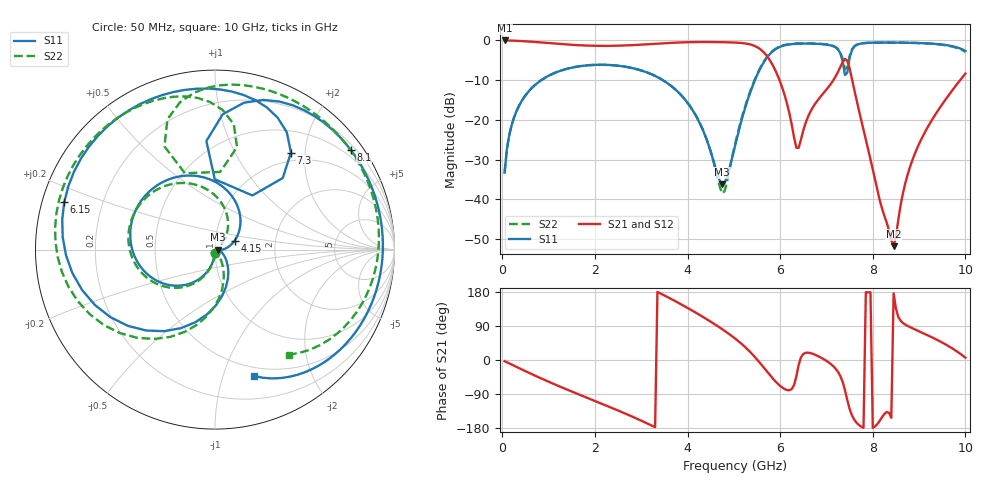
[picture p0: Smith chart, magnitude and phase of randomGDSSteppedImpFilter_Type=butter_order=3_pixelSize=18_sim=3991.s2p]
! freq	dB(S11)	phase(S11)	dB(S12)	phase(S12)
!  dB(S21)	phase(S21)	dB(S22)	phase(S22)
!S-par simulation data
#  GHz  S  DB  R 50
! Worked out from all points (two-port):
!   200 points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, 50 MHz to 10 GHz, reference 50 ohm
!   highest |S21| = -0.01 dB at 50 MHz (marker M1); lowest = -51.8 dB at 8.45 GHz (marker M2)
!   |S21| within 3 dB of the highest: start of sweep to 5.646 GHz
!   lowest |S11| = -36.2 dB at 4.75 GHz (marker M3), VSWR 1.03, Z = 51.6 + j0.0109 ohm
!   |S11| at or under -10 dB: start of sweep to 843 MHz; 3.465 GHz to 5.456 GHz (1.991 GHz wide, 44.6 % of centre)
!   |S22| runs from -38.5 to -0.5 dB; largest |S21 - S12| = 0
!   S11 on the Smith chart (normalised r, x): 50 MHz: 1.00, -0.04; 4.15 GHz: 1.24, +0.13; 6.15 GHz: 0.07, +0.15; 7.3 GHz: 0.85, +1.73; 8.1 GHz: 0.33, +3.03; 10 GHz: 0.41, -1.28
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0.05  -33.31 -92.9  -0.01 -3.0  -0.01 -3.0  -33.30 -92.7
0.2  -21.41 -102.4  -0.05 -12.0  -0.05 -12.0  -21.41 -101.6
0.5  -13.85 -121.0  -0.22 -29.5  -0.22 -29.5  -13.85 -119.0
1.75  -6.38 170.1  -1.26 -95.7  -1.26 -95.7  -6.38 177.5
3.4  -9.55 77.7  -0.78 176.6  -0.78 176.6  -9.54 96.6
4.15  -18.36 24.7  -0.42 126.9  -0.42 126.9  -18.30 55.8
4.75  -36.22 0.4  -0.45 81.2  -0.45 81.2  -38.55 -5.2
5.05  -25.33 -30.0  -0.56 54.5  -0.56 54.5  -24.91 -59.0
5.4  -11.63 -81.3  -1.18 15.1  -1.18 15.1  -11.37 -85.1
5.7  -4.56 -130.3  -3.72 -28.2  -3.72 -28.2  -4.40 -124.3
6.15  -1.11 162.5  -15.99 -79.4  -15.99 -79.4  -1.01 177.1
6.35  -0.85 140.5  -27.03 -43.1  -27.03 -43.1  -0.77 157.9
6.7  -0.82 108.9  -16.98 16.5  -16.98 16.5  -0.77 130.4
7.3  -3.27 51.9  -6.68 -42.4  -6.68 -42.4  -3.02 81.5
7.4  -8.71 55.3  -4.66 -79.6  -4.66 -79.6  -7.26 86.2
7.5  -4.34 94.5  -7.04 -129.0  -7.04 -129.0  -3.87 116.1
7.65  -1.15 72.2  -15.03 -165.7  -15.03 -165.7  -1.08 97.4
8.1  -0.55 36.2  -37.82 -169.0  -37.82 -169.0  -0.55 64.3
8.35  -0.54 21.3  -47.84 -139.1  -47.84 -139.1  -0.55 49.9
8.45  -0.54 15.7  -51.83 175.9  -51.83 175.9  -0.55 44.3
8.95  -0.64 -11.3  -27.37 78.5  -27.37 78.5  -0.66 16.4
10  -2.64 -72.7  -8.36 6.2  -8.36 6.2  -2.90 -54.9
